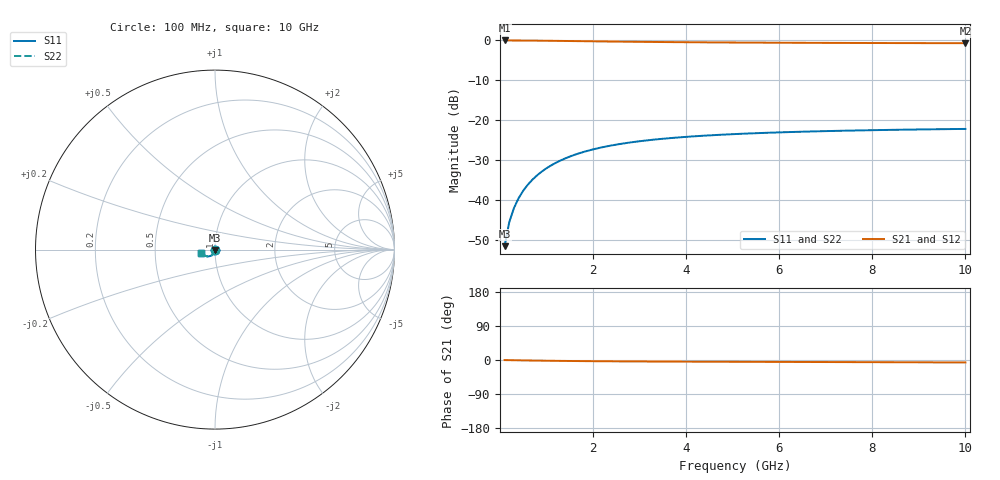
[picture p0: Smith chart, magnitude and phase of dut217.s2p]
! Touchstone file exported from HFSS 2024.1.0
!  File:  C:/UserFiles/LocalFiles/RDL_TSV_Batchsim/temp_TSV1_217_1778758272.aedt
!  Generated:  07:35:41 PM May 14, 2026
!  Design:  TSV1
!  Project:  temp_TSV1_217_1778758272
!  Setup:  Setup1
!  Solution:  Sweep
! Variables:
!  dtsv = 16.65um
!  hbump = 3um
!  htsv = 99.44um
!  lrdl = 252.1521522um
!  p = 40
!  p1 = 59.99um
!  t = 500um
!  trdl = 3um
!  wrdl = 24.89489489um
# GHz S MA R 50.000000
! Terminal data exported
! Port[1] = TSV22_T1
! Port[2] = TSV22_T2
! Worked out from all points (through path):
!   100 points, 100 MHz to 10 GHz, reference 50 ohm
!   highest |S21| = 0.00 dB at 100 MHz (marker M1); lowest = -0.7 dB at 10 GHz (marker M2)
!   lowest |S11| = -51.5 dB at 100 MHz (marker M3), VSWR 1.01, Z = 50 - j0.265 ohm
!   |S11| at or under -10 dB: start of sweep to end of sweep
!   |S22| runs from -51.5 to -22.2 dB; largest |S21 - S12| = 3.1e-15
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0.1  0.002654 -90.3  0.9998 -0.2  0.9998 -0.2  0.002654 -90.3
! Gamma 0 0 0 0
! Port Impedance 50 0 50 0
0.2  0.005311 -93.1  0.9995 -0.4  0.9995 -0.4  0.005311 -93.1
0.3  0.007956 -95.5  0.999 -0.6  0.999 -0.6  0.007956 -95.5
0.4  0.01057 -97.7  0.9983 -0.8  0.9983 -0.8  0.01057 -97.7
0.5  0.01314 -99.8  0.9975 -1.0  0.9975 -1.0  0.01314 -99.8
0.6  0.01566 -101.9  0.9965 -1.2  0.9965 -1.2  0.01566 -101.9
0.7  0.01813 -103.9  0.9954 -1.4  0.9954 -1.4  0.01813 -103.9
0.8  0.02052 -105.9  0.9942 -1.6  0.9942 -1.6  0.02052 -105.9
0.9  0.02285 -107.8  0.9929 -1.7  0.9929 -1.7  0.02285 -107.8
1.1  0.02727 -111.5  0.99 -2.1  0.99 -2.1  0.02727 -111.5
1.4  0.0333 -116.7  0.9852 -2.5  0.9852 -2.5  0.0333 -116.7
1.6  0.03692 -119.8  0.9819 -2.7  0.9819 -2.7  0.03692 -119.8
1.8  0.04022 -122.8  0.9786 -2.9  0.9786 -2.9  0.04022 -122.8
2.1  0.04464 -126.8  0.9738 -3.2  0.9738 -3.2  0.04464 -126.8
2.5  0.04962 -131.6  0.9677 -3.5  0.9677 -3.5  0.04962 -131.6
2.9  0.05376 -135.7  0.9623 -3.8  0.9623 -3.8  0.05376 -135.7
3.4  0.05799 -140.1  0.9563 -4.0  0.9563 -4.0  0.058 -140.1
4.2  0.06318 -145.9  0.9485 -4.4  0.9485 -4.4  0.06318 -145.9
5.1  0.06744 -151.1  0.9418 -4.7  0.9418 -4.7  0.06744 -151.1
6.7  0.07252 -158.1  0.9334 -5.3  0.9334 -5.3  0.07252 -158.1
8.4  0.0759 -163.7  0.9276 -5.9  0.9276 -5.9  0.0759 -163.7
10  0.07801 -167.9  0.9238 -6.5  0.9238 -6.5  0.07801 -167.9
